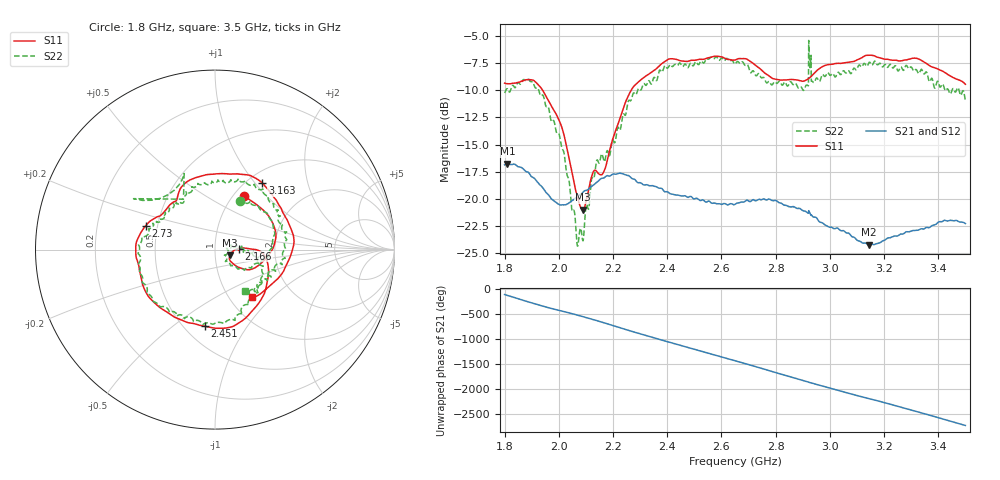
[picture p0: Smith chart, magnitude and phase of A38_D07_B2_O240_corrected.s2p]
! Created with skrf 1.9.0 (http://scikit-rf.org).
# Hz S RI R 50.0
!freq ReS11 ImS11 ReS21 ImS21 ReS12 ImS12 ReS22 ImS22
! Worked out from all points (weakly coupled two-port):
!   1601 points, 1.8 GHz to 3.5 GHz, reference 50 ohm
!   highest |S21| = -16.76 dB at 1.811 GHz (marker M1); lowest = -24.2 dB at 3.144 GHz (marker M2)
!   lowest |S11| = -21.0 dB at 2.089 GHz (marker M3), VSWR 1.20, Z = 59 - j3.71 ohm
!   |S11| at or under -10 dB: 1.94 GHz to 2.267 GHz (326.8 MHz wide, 15.5 % of centre)
!   |S22| runs from -24.3 to -5.4 dB; largest |S21 - S12| = 0.0026
!   S11 on the Smith chart (normalised r, x): 1.8 GHz: 1.12, +0.76; 2.166 GHz: 1.31, +0.01; 2.451 GHz: 0.63, -0.66; 2.73 GHz: 0.43, +0.14; 3.163 GHz: 1.17, +1.09; 3.5 GHz: 1.26, -0.76
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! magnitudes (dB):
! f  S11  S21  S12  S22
! 1.8 GHz  -9.4  -16.9  -16.9  -10.2
! 1.811 GHz  -9.4  -16.8  -16.8  -9.9
! 1.885 GHz  -9.0  -17.5  -17.6  -9.0
! 1.942 GHz  -10.1  -19.0  -19.0  -10.5
! 2.01 GHz  -13.4  -20.5  -20.5  -15.2
! 2.067 GHz  -19.6  -19.8  -19.8  -24.0
! 2.084 GHz  -20.9  -19.5  -19.5  -23.0
! 2.089 GHz  -21.0  -19.4  -19.4  -23.8
! 2.135 GHz  -17.4  -18.6  -18.6  -17.3
! 2.166 GHz  -17.5  -18.1  -18.0  -16.5
! 2.262 GHz  -10.2  -17.9  -18.0  -11.0
! 2.367 GHz  -7.9  -19.0  -18.9  -8.5
! 2.451 GHz  -7.3  -19.7  -19.7  -7.6
! 2.65 GHz  -7.2  -20.5  -20.5  -7.6
! 2.73 GHz  -7.8  -20.1  -20.2  -8.7
! 2.901 GHz  -9.2  -21.1  -21.1  -10.0
! 2.934 GHz  -8.7  -21.5  -21.5  -9.2
! 3.144 GHz  -6.8  -24.2  -24.1  -7.5
! 3.163 GHz  -6.8  -24.2  -24.1  -7.4
! 3.217 GHz  -7.2  -23.6  -23.6  -7.8
! 3.324 GHz  -7.1  -22.9  -22.8  -8.3
! 3.5 GHz  -9.5  -22.3  -22.3  -11.0
